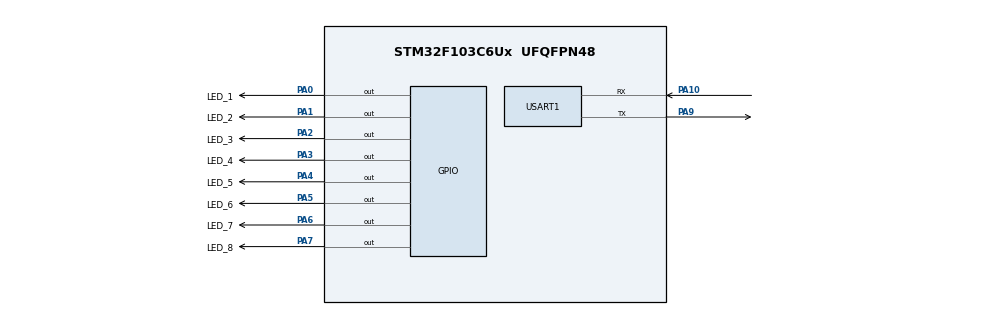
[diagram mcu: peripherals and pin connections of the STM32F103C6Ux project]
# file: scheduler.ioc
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Mcu.Family=STM32F1
Mcu.Name=STM32F103C6Ux
Mcu.Package=UFQFPN48
NVIC.PriorityGroup=NVIC_PRIORITYGROUP_4
NVIC.TIM2_IRQn=true\:0\:0\:false\:false\:true\:true\:true\:true
PA0-WKUP.GPIO_Label=LED_1
PA0-WKUP.Signal=GPIO_Output
PA1.GPIO_Label=LED_2
PA1.Signal=GPIO_Output
PA10.Mode=Asynchronous
PA10.Signal=USART1_RX
PA2.GPIO_Label=LED_3
PA2.Signal=GPIO_Output
PA3.GPIO_Label=LED_4
PA3.Signal=GPIO_Output
PA4.GPIO_Label=LED_5
PA4.Signal=GPIO_Output
PA5.GPIO_Label=LED_6
PA5.Signal=GPIO_Output
PA6.GPIO_Label=LED_7
PA6.Signal=GPIO_Output
PA7.GPIO_Label=LED_8
PA7.Signal=GPIO_Output
PA9.Mode=Asynchronous
PA9.Signal=USART1_TX
ProjectManager.HeapSize=0x200
ProjectManager.StackSize=0x400
ProjectManager.TargetToolchain=CMake
RCC.APB1Freq_Value=8000000
RCC.APB2Freq_Value=8000000
TIM2.Period=9
TIM2.Prescaler=7999
USART1.VirtualMode=VM_ASYNC
VP_SYS_VS_ND.Mode=No_Debug
VP_TIM2_VS_ClockSourceINT.Mode=Internal
board=custom

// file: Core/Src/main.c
/* USER CODE BEGIN Header */
/**
 ******************************************************************************
 * @file           : main.c
 * @brief          : Main program body
 ******************************************************************************
 * @attention
 *
 * Copyright (c) 2025 STMicroelectronics.
 * All rights reserved.
 *
 * This software is licensed under terms that can be found in the LICENSE file
 * in the root directory of this software component.
 * If no LICENSE file comes with this software, it is provided AS-IS.
 *
 ******************************************************************************
 */
/* USER CODE END Header */
#include "main.h"

/* USER CODE BEGIN Includes */
#include "scheduler.h"
#include "stdio.h"
/* USER CODE END Includes */

TIM_HandleTypeDef htim2;

UART_HandleTypeDef huart1;

/* USER CODE BEGIN PV */
extern UART_HandleTypeDef huart1;
/* USER CODE END PV */

void SystemClock_Config(void);
static void MX_GPIO_Init(void);
static void MX_TIM2_Init(void);
static void MX_USART1_UART_Init(void);

/* USER CODE BEGIN 0 */
/**
 * @brief  Retargets the C standard library printf function to the UART.
 */
int _write(int file, char *ptr, int len)
{
    HAL_UART_Transmit(&huart1, (uint8_t *)ptr, len, HAL_MAX_DELAY);
    return len;
}

/**
 * @brief Simple function to get the current time (in 10ms ticks)
 * (Note: HAL_GetTick() returns time in 1ms)
 */
uint32_t get_time(void)
{
    return HAL_GetTick() / 10; // Convert 1ms HAL tick to 10ms scheduler ticks
}

// Problem 4 Tasks (5 periodic)
void Task1_0_5s(void)
{
    HAL_GPIO_TogglePin(GPIOA, LED_1_Pin);
}

void Task2_1_0s(void)
{
    HAL_GPIO_TogglePin(GPIOA, LED_2_Pin);
}

void Task3_1_5s(void)
{
    HAL_GPIO_TogglePin(GPIOA, LED_3_Pin);
}

void Task4_2_0s(void)
{
    HAL_GPIO_TogglePin(GPIOA, LED_4_Pin);
}

void Task5_2_5s(void)
{
    HAL_GPIO_TogglePin(GPIOA, LED_5_Pin);
}

// Demonstration 5 Tasks
void Demo_Task_10ms(void)
{
    HAL_GPIO_TogglePin(GPIOA, LED_6_Pin); // Toggle LED
    // "print the value returned by get_time"
    printf("10ms Task! Time: %lu\r\n", get_time());
}

void Demo_One_Shot_1(void)
{
    HAL_GPIO_WritePin(GPIOA, LED_7_Pin, GPIO_PIN_SET); // Turn on LED
    printf("One-Shot 1 Fired! Timestamp: %lu\r\n", get_time());
}

void Demo_One_Shot_2(void)
{
    HAL_GPIO_WritePin(GPIOA, LED_8_Pin, GPIO_PIN_SET); // Turn on LED
    printf("One-Shot 2 Fired! Timestamp: %lu\r\n", get_time());
}
/* USER CODE END 0 */

int main(void)
{

    /* MCU Configuration--------------------------------------------------------*/

    /* Reset of all peripherals, Initializes the Flash interface and the Systick. */
    HAL_Init();

    /* Configure the system clock */
    SystemClock_Config();

    /* Initialize all configured peripherals */
    MX_GPIO_Init();
    MX_TIM2_Init();
    MX_USART1_UART_Init();
    /* USER CODE BEGIN 2 */
    // Initialize the scheduler
    SCH_Init();

    // Problem 4 Tasks (LEDs 1-5)
    SCH_Add_Task(Task1_0_5s, 0, 50);   // (Also covers Demo 5 500ms task)
    SCH_Add_Task(Task2_1_0s, 10, 100); // Offset starts
    SCH_Add_Task(Task3_1_5s, 20, 150);
    SCH_Add_Task(Task4_2_0s, 30, 200);
    SCH_Add_Task(Task5_2_5s, 40, 250);

    // Demonstration 5 Tasks (LEDs 6-8)
    SCH_Add_Task(Demo_Task_10ms, 0, 1);    // 10ms periodic task
    SCH_Add_Task(Demo_One_Shot_1, 300, 0); // 3-second one-shot task
    SCH_Add_Task(Demo_One_Shot_2, 500, 0); // 5-second one-shot task
    /* USER CODE END 2 */

    /* Infinite loop */
    while (1)
    {
        SCH_Dispatch_Tasks();
    }
}

void SystemClock_Config(void)
{
    RCC_OscInitTypeDef RCC_OscInitStruct = {0};
    RCC_ClkInitTypeDef RCC_ClkInitStruct = {0};

    /** Initializes the RCC Oscillators according to the specified parameters
     * in the RCC_OscInitTypeDef structure.
     */
    RCC_OscInitStruct.OscillatorType = RCC_OSCILLATORTYPE_HSI;
    RCC_OscInitStruct.HSIState = RCC_HSI_ON;
    RCC_OscInitStruct.HSICalibrationValue = RCC_HSICALIBRATION_DEFAULT;
    RCC_OscInitStruct.PLL.PLLState = RCC_PLL_NONE;
    if (HAL_RCC_OscConfig(&RCC_OscInitStruct) != HAL_OK)
    {
        Error_Handler();
    }

    /** Initializes the CPU, AHB and APB buses clocks
     */
    RCC_ClkInitStruct.ClockType = RCC_CLOCKTYPE_HCLK | RCC_CLOCKTYPE_SYSCLK | RCC_CLOCKTYPE_PCLK1 | RCC_CLOCKTYPE_PCLK2;
    RCC_ClkInitStruct.SYSCLKSource = RCC_SYSCLKSOURCE_HSI;
    RCC_ClkInitStruct.AHBCLKDivider = RCC_SYSCLK_DIV1;
    RCC_ClkInitStruct.APB1CLKDivider = RCC_HCLK_DIV1;
    RCC_ClkInitStruct.APB2CLKDivider = RCC_HCLK_DIV1;

    if (HAL_RCC_ClockConfig(&RCC_ClkInitStruct, FLASH_LATENCY_0) != HAL_OK)
    {
        Error_Handler();
    }
}

static void MX_TIM2_Init(void)
{

    TIM_ClockConfigTypeDef sClockSourceConfig = {0};
    TIM_MasterConfigTypeDef sMasterConfig = {0};

    htim2.Instance = TIM2;
    htim2.Init.Prescaler = 7999;
    htim2.Init.CounterMode = TIM_COUNTERMODE_UP;
    htim2.Init.Period = 9;
    htim2.Init.ClockDivision = TIM_CLOCKDIVISION_DIV1;
    htim2.Init.AutoReloadPreload = TIM_AUTORELOAD_PRELOAD_DISABLE;
    if (HAL_TIM_Base_Init(&htim2) != HAL_OK)
    {
        Error_Handler();
    }
    sClockSourceConfig.ClockSource = TIM_CLOCKSOURCE_INTERNAL;
    if (HAL_TIM_ConfigClockSource(&htim2, &sClockSourceConfig) != HAL_OK)
    {
        Error_Handler();
    }
    sMasterConfig.MasterOutputTrigger = TIM_TRGO_RESET;
    sMasterConfig.MasterSlaveMode = TIM_MASTERSLAVEMODE_DISABLE;
    if (HAL_TIMEx_MasterConfigSynchronization(&htim2, &sMasterConfig) != HAL_OK)
    {
        Error_Handler();
    }
}

static void MX_USART1_UART_Init(void)
{

    huart1.Instance = USART1;
    huart1.Init.BaudRate = 115200;
    huart1.Init.WordLength = UART_WORDLENGTH_8B;
    huart1.Init.StopBits = UART_STOPBITS_1;
    huart1.Init.Parity = UART_PARITY_NONE;
    huart1.Init.Mode = UART_MODE_TX_RX;
    huart1.Init.HwFlowCtl = UART_HWCONTROL_NONE;
    huart1.Init.OverSampling = UART_OVERSAMPLING_16;
    if (HAL_UART_Init(&huart1) != HAL_OK)
    {
        Error_Handler();
    }
}

static void MX_GPIO_Init(void)
{
    GPIO_InitTypeDef GPIO_InitStruct = {0};

    /* GPIO Ports Clock Enable */
    __HAL_RCC_GPIOA_CLK_ENABLE();

    /*Configure GPIO pin Output Level */
    HAL_GPIO_WritePin(GPIOA, LED_1_Pin | LED_2_Pin | LED_3_Pin | LED_4_Pin | LED_5_Pin | LED_6_Pin | LED_7_Pin | LED_8_Pin, GPIO_PIN_RESET);

    /*Configure GPIO pins : LED_1_Pin LED_2_Pin LED_3_Pin LED_4_Pin
                             LED_5_Pin LED_6_Pin LED_7_Pin LED_8_Pin */
    GPIO_InitStruct.Pin = LED_1_Pin | LED_2_Pin | LED_3_Pin | LED_4_Pin | LED_5_Pin | LED_6_Pin | LED_7_Pin | LED_8_Pin;
    GPIO_InitStruct.Mode = GPIO_MODE_OUTPUT_PP;
    GPIO_InitStruct.Pull = GPIO_NOPULL;
    GPIO_InitStruct.Speed = GPIO_SPEED_FREQ_LOW;
    HAL_GPIO_Init(GPIOA, &GPIO_InitStruct);

}

/* USER CODE BEGIN 4 */
/**
 * @brief Starts the timer interrupt.
 */
void Timer_init(void)
{
    HAL_TIM_Base_Start_IT(&htim2);
}

/**
 * @brief Timer interrupt callback. This is called by the HAL every 10ms.
 */
void HAL_TIM_PeriodElapsedCallback(TIM_HandleTypeDef *htim)
{
    if (htim->Instance == TIM2)
    {
        SCH_Update();
    }
}
/* USER CODE END 4 */

void Error_Handler(void)
{
    __disable_irq();
    while (1)
    {
    }
}
